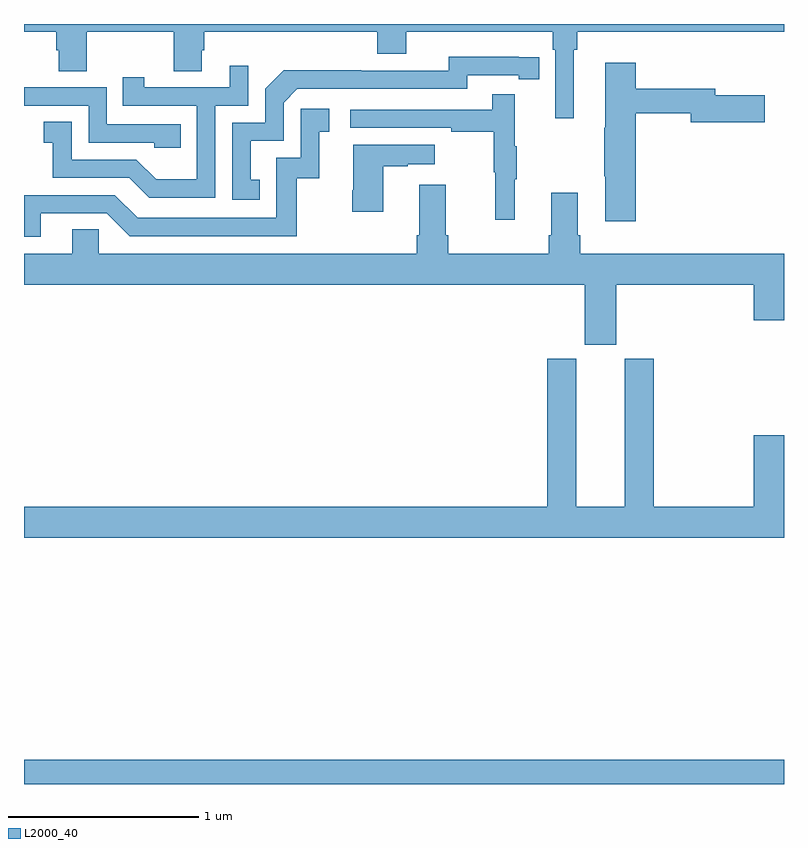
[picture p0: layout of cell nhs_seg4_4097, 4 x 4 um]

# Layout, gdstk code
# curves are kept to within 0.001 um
import gdstk
lib = gdstk.Library(unit=1e-6, precision=1e-09)
def R(c, l, rs):  # rectangles x0, y0, x1, y1
    for r in rs: c.add(gdstk.rectangle(r[:2], r[2:], *l))
def P(c, l, *ps):  # polygons
    for p in ps: c.add(gdstk.Polygon(p, *l))
L2000_40 = (2000, 40)

nhs_seg4_4097 = lib.new_cell('nhs_seg4_4097')
R(nhs_seg4_4097, L2000_40, [(329,752.9,333,753.028)])
P(nhs_seg4_4097, L2000_40, [(331.894,756.764),(331.913,756.764),(331.913,756.86),(333,756.86),(333,756.9),(329,756.9),(329,756.86),(329.171,756.86),(329.171,756.762),(329.183,756.762),(329.183,756.652),(329.331,756.652),(329.331,756.86),(329.788,756.86),(329.788,756.652),(329.935,756.652),(329.935,756.762),(329.948,756.762),(329.948,756.86),(330.86,756.86),(330.86,756.743),(331.012,756.743),(331.012,756.86),(331.784,756.86),(331.784,756.764),(331.797,756.764),(331.797,756.405),(331.894,756.405)],
  [(330.242,756.081),(330.193,756.081),(330.193,756.285),(330.366,756.285),(330.366,756.486),(330.438,756.558),(331.332,756.558),(331.332,756.63),(331.604,756.63),(331.604,756.61),(331.712,756.61),(331.712,756.726),(331.236,756.727),(331.236,756.654),(330.776,756.654),(330.776,756.656),(330.368,756.656),(330.27,756.558),(330.27,756.381),(330.096,756.381),(330.096,755.976),(330.242,755.976)],
  [(332.219,756.43),(332.51,756.43),(332.51,756.383),(332.899,756.383),(332.899,756.525),(332.638,756.525),(332.638,756.559),(332.219,756.559),(332.219,756.697),(332.06,756.697),(332.06,756.353),(332.053,756.353),(332.053,756.1),(332.06,756.1),(332.06,755.862),(332.219,755.862)],
  [(330.006,756.471),(330.18,756.471),(330.18,756.679),(330.083,756.679),(330.083,756.567),(329.632,756.567),(329.632,756.619),(329.521,756.619),(329.521,756.471),(329.91,756.471),(329.91,756.082),(329.696,756.082),(329.592,756.186),(329.25,756.186),(329.25,756.385),(329.103,756.385),(329.103,756.275),(329.152,756.275),(329.152,756.09),(329.555,756.09),(329.66,755.985),(330.006,755.985)],
  [(329.825,756.372),(329.436,756.372),(329.436,756.567),(329,756.567),(329,756.471),(329.34,756.471),(329.34,756.276),(329.685,756.276),(329.685,756.249),(329.825,756.249)],
  [(331.583,756.083),(331.594,756.083),(331.594,756.257),(331.583,756.257),(331.583,756.529),(331.465,756.529),(331.465,756.45),(330.717,756.45),(330.717,756.354),(331.249,756.354),(331.249,756.334),(331.473,756.334),(331.473,756.12),(331.48,756.12),(331.48,755.871),(331.583,755.871)],
  [(329.089,755.904),(329.436,755.904),(329.556,755.784),(330.436,755.784),(330.436,756.087),(330.554,756.087),(330.554,756.333),(330.607,756.333),(330.607,756.454),(330.456,756.454),(330.456,756.195),(330.327,756.195),(330.327,755.88),(329.598,755.88),(329.478,756),(329,756),(329,755.781),(329.089,755.781)],
  [(330.892,756.151),(331.019,756.151),(331.019,756.161),(331.162,756.161),(331.162,756.265),(330.734,756.265),(330.734,756.025),(330.727,756.025),(330.727,755.913),(330.892,755.913)],
  [(332.116,755.528),(332.84,755.528),(332.84,755.34),(333,755.34),(333,755.692),(331.928,755.692),(331.928,755.788),(331.915,755.788),(331.915,756.013),(331.775,756.013),(331.775,755.788),(331.763,755.788),(331.763,755.692),(331.232,755.692),(331.232,755.788),(331.219,755.788),(331.219,756.055),(331.079,756.055),(331.079,755.788),(331.067,755.788),(331.067,755.692),(329.394,755.692),(329.394,755.819),(329.255,755.819),(329.255,755.692),(329,755.692),(329,755.528),(331.952,755.528),(331.952,755.211),(332.116,755.211)],
  [(333,754.735),(332.84,754.735),(332.84,754.36),(332.315,754.36),(332.315,755.139),(332.162,755.139),(332.162,754.36),(331.906,754.36),(331.906,755.139),(331.754,755.139),(331.754,754.36),(329,754.36),(329,754.196),(333,754.196)])

lib.write_gds('nhs_seg4_4097.gds')
